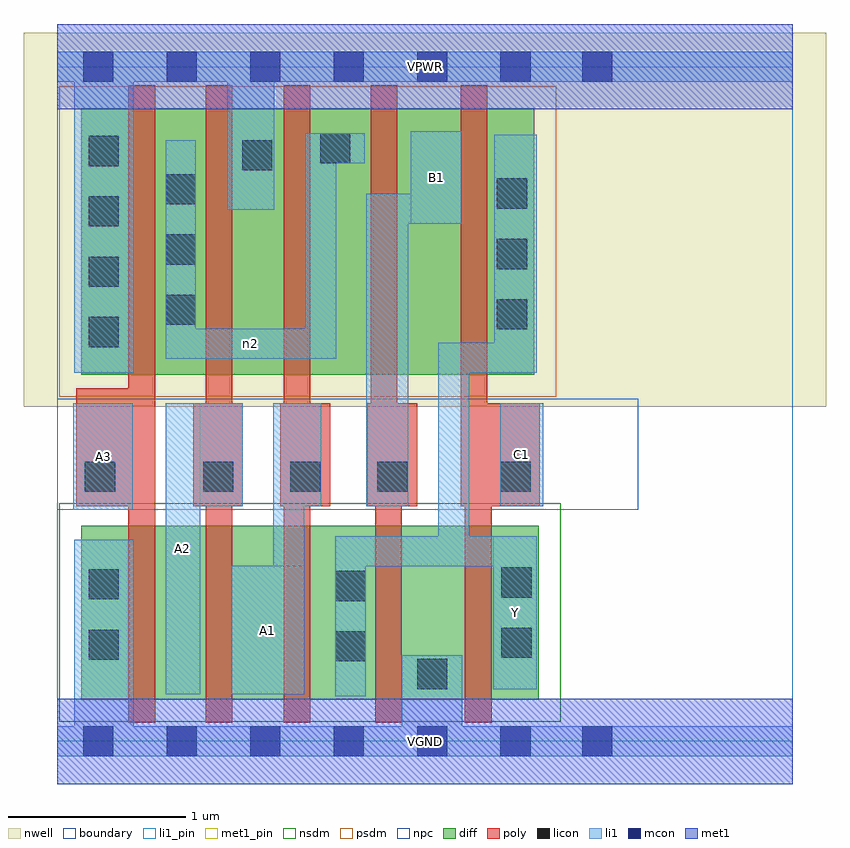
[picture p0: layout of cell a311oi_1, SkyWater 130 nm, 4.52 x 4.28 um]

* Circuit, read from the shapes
.subckt a311oi_1 A1 A2 A3 B1 C1 VGND VPWR Y n2
XM1 n1 A3 VGND VSUBS sky130_fd_pr__nfet_01v8 w=0.98 l=0.15
XM2 n3 A2 n1 VSUBS sky130_fd_pr__nfet_01v8 w=0.98 l=0.15
XM3 Y A1 n3 VSUBS sky130_fd_pr__nfet_01v8 w=0.98 l=0.15
XM4 VGND B1 Y VSUBS sky130_fd_pr__nfet_01v8 w=0.98 l=0.15
XM5 Y C1 VGND VSUBS sky130_fd_pr__nfet_01v8 w=0.98 l=0.15
XM6 n2 A3 VPWR n4 sky130_fd_pr__pfet_01v8 w=1.5 l=0.15
XM7 VPWR A2 n2 n4 sky130_fd_pr__pfet_01v8 w=1.5 l=0.15
XM8 n2 A1 VPWR n4 sky130_fd_pr__pfet_01v8 w=1.5 l=0.15
XM9 n5 B1 n2 n4 sky130_fd_pr__pfet_01v8 w=1.5 l=0.15
XM10 Y C1 n5 n4 sky130_fd_pr__pfet_01v8 w=1.5 l=0.15
.ends

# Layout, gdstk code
import gdstk
lib = gdstk.Library(unit=1e-6, precision=1e-09)
def R(c, l, rs):  # rectangles x0, y0, x1, y1
    for r in rs: c.add(gdstk.rectangle(r[:2], r[2:], *l))
def A(c, l, x, y, w, h, nx, ny, dx, dy):  # array of equal rectangles
    R(c, l, [(x+i*dx, y+j*dy, x+i*dx+w, y+j*dy+h) for i in range(nx) for j in range(ny)])
nwell = (64, 20)
diff = (65, 20)
poly = (66, 20)
licon = (66, 44)
li1_pin = (67, 16)
li1 = (67, 20)
mcon = (67, 44)
met1_pin = (68, 16)
met1 = (68, 20)
nsdm = (93, 44)
psdm = (94, 20)
npc = (95, 20)
boundary = (235, 4)

a311oi_1 = lib.new_cell('a311oi_1')
R(a311oi_1, nwell, [(-0.19,1.885,4.33,3.99), (0,1.885,4.14,3.99)])
R(a311oi_1, diff, [(0.135,0.235,2.71,1.215), (0.135,2.065,2.685,3.565)])
A(a311oi_1, poly, 0.765, 1.325, 0.28, 0.58, 3, 1, 0.49, 0)
R(a311oi_1, poly, [(0.4,0.105,0.55,3.695), (0.835,0.105,0.985,3.695), (1.275,0.105,1.425,3.695), (1.79,0.105,1.94,1.905), (2.295,0.105,2.445,1.905), (0.105,1.325,0.55,1.99), (1.765,1.325,1.915,3.695), (2.27,1.325,2.42,3.695), (2.27,1.325,2.715,1.905)])
A(a311oi_1, licon, 0.82, 1.405, 0.17, 0.17, 3, 1, 0.49, 0)
A(a311oi_1, licon, 0.175, 2.22, 0.17, 0.17, 1, 4, 0, 0.34)
A(a311oi_1, licon, 2.475, 2.32, 0.17, 0.17, 1, 3, 0, 0.34)
A(a311oi_1, licon, 0.61, 2.345, 0.17, 0.17, 1, 3, 0, 0.34)
R(a311oi_1, licon, [(2.025,0.295,2.195,0.465), (1.565,0.45,1.735,0.62), (0.175,0.46,0.345,0.63), (2.5,0.47,2.67,0.64), (1.565,0.79,1.735,0.96), (0.175,0.8,0.345,0.97), (2.5,0.81,2.67,0.98), (0.155,1.405,0.325,1.575), (2.495,1.405,2.665,1.575), (1.04,3.215,1.21,3.385), (1.48,3.255,1.65,3.425)])
R(a311oi_1, li1_pin, [(0.61,0.265,0.805,1.905), (0.98,0.265,1.39,0.99), (2.455,0.295,2.7,1.155), (0.09,1.305,0.425,1.905), (2.495,1.325,2.735,1.905), (1.99,2.915,2.275,3.435)])
R(a311oi_1, li1, [(0,-0.085,4.14,0.085), (0.095,-0.085,0.43,1.135), (1.94,-0.085,2.28,0.485), (1.565,0.255,1.735,1.155), (0.61,0.265,0.805,1.905), (0.98,0.265,1.39,0.99), (1.215,0.265,1.39,1.905), (2.455,0.295,2.7,1.155), (1.565,0.985,2.7,1.155), (2.145,0.985,2.32,2.245), (0.09,1.305,0.425,1.905), (0.61,1.325,1.045,1.905), (1.215,1.325,1.485,1.905), (1.74,1.325,1.975,3.085), (2.495,1.325,2.735,1.905), (0.095,2.075,0.43,3.885), (2.145,2.075,2.7,2.245), (2.46,2.075,2.7,3.415), (0.61,2.155,1.57,2.325), (0.61,2.155,0.78,3.385), (1.395,2.155,1.57,3.425), (1.74,2.915,2.275,3.085), (1.99,2.915,2.275,3.435), (0.955,2.995,1.22,3.885), (1.395,3.255,1.73,3.425), (0,3.715,4.14,3.885)])
A(a311oi_1, mcon, 0.145, -0.085, 0.17, 0.17, 6, 2, 0.47, 3.8)
R(a311oi_1, mcon, [(2.955,-0.085,3.125,0.085), (2.955,3.715,3.125,3.885)])
R(a311oi_1, met1_pin, [(0,-0.24,4.14,0.24), (0,3.56,4.14,4.04)])
R(a311oi_1, met1, [(0,-0.24,4.14,0.24), (0,3.56,4.14,4.04)])
R(a311oi_1, nsdm, [(0.01,0.11,2.835,1.34)])
R(a311oi_1, psdm, [(0.01,1.94,2.81,3.69)])
R(a311oi_1, npc, [(0,1.305,3.27,1.93)])
R(a311oi_1, boundary, [(0,0,4.14,3.8)])
a311oi_1.add(gdstk.Label('A1', (1.185,0.627), layer=67, texttype=5))
a311oi_1.add(gdstk.Label('A2', (0.707,1.085), layer=67, texttype=5))
a311oi_1.add(gdstk.Label('A3', (0.257,1.605), layer=67, texttype=5))
a311oi_1.add(gdstk.Label('B1', (2.132,3.175), layer=67, texttype=5))
a311oi_1.add(gdstk.Label('C1', (2.615,1.615), layer=67, texttype=5))
a311oi_1.add(gdstk.Label('Y', (2.577,0.725), layer=67, texttype=5))
a311oi_1.add(gdstk.Label('n2', (1.09,2.24), layer=67, texttype=5))
a311oi_1.add(gdstk.Label('VPWR', (2.07,3.8), layer=68, texttype=5))
a311oi_1.add(gdstk.Label('VGND', (2.07,0), layer=68, texttype=5))
a311oi_1.add(gdstk.Label('A1', (1.185,0.627), layer=67, texttype=16))
a311oi_1.add(gdstk.Label('A2', (0.707,1.085), layer=67, texttype=16))
a311oi_1.add(gdstk.Label('A3', (0.257,1.605), layer=67, texttype=16))
a311oi_1.add(gdstk.Label('B1', (2.132,3.175), layer=67, texttype=16))
a311oi_1.add(gdstk.Label('C1', (2.615,1.615), layer=67, texttype=16))
a311oi_1.add(gdstk.Label('Y', (2.577,0.725), layer=67, texttype=16))
a311oi_1.add(gdstk.Label('VPWR', (2.07,3.8), layer=68, texttype=16))
a311oi_1.add(gdstk.Label('VGND', (2.07,0), layer=68, texttype=16))

lib.write_gds('a311oi_1.gds')
